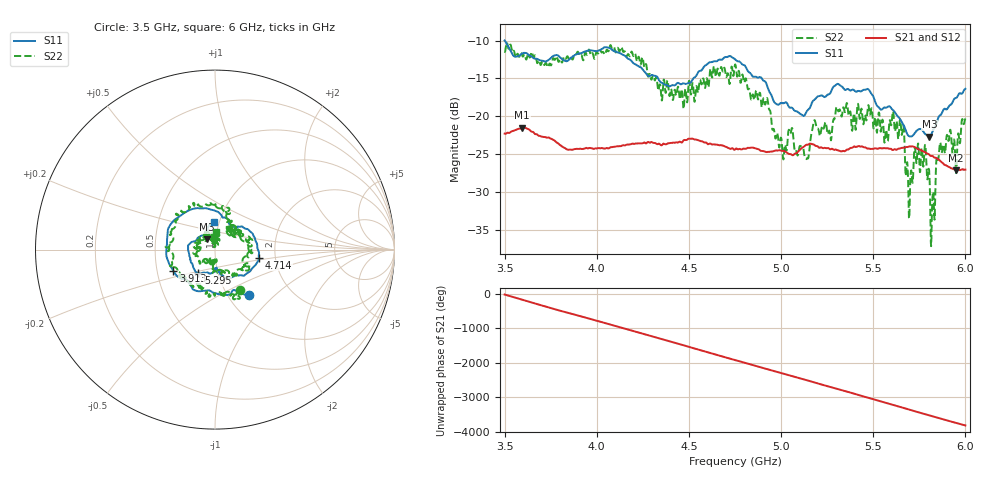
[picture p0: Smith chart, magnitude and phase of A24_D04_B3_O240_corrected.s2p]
! Created with skrf 1.9.0 (http://scikit-rf.org).
# Hz S RI R 50.0
!freq ReS11 ImS11 ReS21 ImS21 ReS12 ImS12 ReS22 ImS22
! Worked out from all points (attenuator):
!   1601 points, 3.5 GHz to 6 GHz, reference 50 ohm
!   highest |S21| = -21.46 dB at 3.595 GHz (marker M1); lowest = -27.1 dB at 5.948 GHz (marker M2)
!   lowest |S11| = -22.7 dB at 5.805 GHz (marker M3), VSWR 1.16, Z = 45.4 + j5.29 ohm
!   |S11| at or under -10 dB: 3.5 GHz to end of sweep
!   |S22| runs from -37.1 to -10.3 dB; largest |S21 - S12| = 0.001
!   S11 on the Smith chart (normalised r, x): 3.5 GHz: 1.24, -0.70; 3.913 GHz: 0.61, -0.15; 4.714 GHz: 1.64, -0.15; 5.295 GHz: 0.80, -0.22; 6 GHz: 0.95, +0.30
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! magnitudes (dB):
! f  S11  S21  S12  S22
! 3.5 GHz  -10.0  -22.3  -22.2  -11.5
! 3.595 GHz  -11.7  -21.5  -21.4  -12.0
! 3.913 GHz  -11.7  -24.3  -24.2  -12.0
! 3.917 GHz  -11.7  -24.3  -24.2  -11.9
! 4.139 GHz  -11.9  -23.8  -23.8  -11.2
! 4.334 GHz  -15.1  -23.6  -23.5  -16.6
! 4.714 GHz  -12.1  -24.2  -24.1  -14.6
! 4.75 GHz  -12.5  -24.4  -24.3  -13.2
! 5.019 GHz  -18.2  -24.6  -24.5  -24.0
! 5.052 GHz  -18.8  -24.9  -24.9  -22.2
! 5.139 GHz  -19.3  -23.7  -23.6  -25.6
! 5.167 GHz  -18.2  -23.6  -23.6  -22.0
! 5.295 GHz  -15.9  -24.4  -24.3  -19.6
! 5.584 GHz  -18.7  -24.2  -24.2  -21.6
! 5.655 GHz  -20.7  -24.1  -24.0  -22.4
! 5.702 GHz  -22.6  -23.9  -23.9  -28.1
! 5.773 GHz  -22.1  -24.6  -24.6  -26.4
! 5.805 GHz  -22.7  -25.1  -25.0  -27.7
! 5.823 GHz  -21.9  -25.2  -25.2  -30.0
! 5.87 GHz  -19.7  -26.0  -25.9  -24.6
! 5.948 GHz  -17.6  -27.1  -27.0  -27.2
! 6 GHz  -16.4  -27.0  -26.9  -20.3
